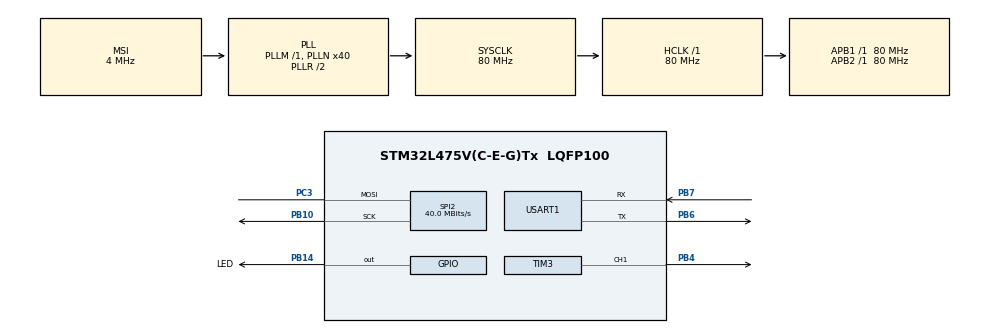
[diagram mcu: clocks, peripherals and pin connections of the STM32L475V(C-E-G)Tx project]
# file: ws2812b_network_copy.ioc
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Dma.Request0=TIM3_CH1/TRIG
Dma.TIM3_CH1/TRIG.0.Direction=DMA_MEMORY_TO_PERIPH
Dma.TIM3_CH1/TRIG.0.Instance=DMA1_Channel6
Dma.TIM3_CH1/TRIG.0.MemDataAlignment=DMA_MDATAALIGN_BYTE
Dma.TIM3_CH1/TRIG.0.MemInc=DMA_MINC_ENABLE
Dma.TIM3_CH1/TRIG.0.Mode=DMA_CIRCULAR
Dma.TIM3_CH1/TRIG.0.PeriphDataAlignment=DMA_PDATAALIGN_WORD
Dma.TIM3_CH1/TRIG.0.PeriphInc=DMA_PINC_DISABLE
Dma.TIM3_CH1/TRIG.0.Priority=DMA_PRIORITY_LOW
Mcu.Family=STM32L4
Mcu.Name=STM32L475V(C-E-G)Tx
Mcu.Package=LQFP100
NVIC.DMA1_Channel6_IRQn=true\:0\:0\:false\:false\:true\:false\:true
NVIC.PriorityGroup=NVIC_PRIORITYGROUP_4
PB10.Mode=Simplex_Bidirectional_Master
PB10.Signal=SPI2_SCK
PB14.GPIO_Label=LED
PB14.Signal=GPIO_Output
PB4\ (NJTRST).Signal=S_TIM3_CH1
PB6.Mode=Asynchronous
PB6.Signal=USART1_TX
PB7.Mode=Asynchronous
PB7.Signal=USART1_RX
PC3.Mode=Simplex_Bidirectional_Master
PC3.Signal=SPI2_MOSI
ProjectManager.HeapSize=0x200
ProjectManager.StackSize=0x400
ProjectManager.TargetToolchain=MDK-ARM V5.27
RCC.ADCFreq_Value=48000000
RCC.AHBFreq_Value=80000000
RCC.APB1Freq_Value=80000000
RCC.APB1TimFreq_Value=80000000
RCC.APB2Freq_Value=80000000
RCC.APB2TimFreq_Value=80000000
RCC.CortexFreq_Value=80000000
RCC.HCLKFreq_Value=80000000
RCC.HSE_VALUE=8000000
RCC.HSI_VALUE=16000000
RCC.LSE_VALUE=32768
RCC.MSI_VALUE=4000000
RCC.PLLN=40
RCC.PLLSAI1N=24
RCC.SYSCLKFreq_VALUE=80000000
RCC.SYSCLKSource=RCC_SYSCLKSOURCE_PLLCLK
RCC.USBFreq_Value=48000000
RCC.VCOOutputFreq_Value=160000000
SH.S_TIM3_CH1.0=TIM3_CH1,PWM Generation1 CH1
SPI2.CalculateBaudRate=40.0 MBits/s
SPI2.Direction=SPI_DIRECTION_1LINE
SPI2.Mode=SPI_MODE_MASTER
SPI2.VirtualType=VM_MASTER
TIM3.Channel-PWM\ Generation1\ CH1=TIM_CHANNEL_1
USART1.VirtualMode-Asynchronous=VM_ASYNC
board=B-L475E-IOT01A1

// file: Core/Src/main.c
/* USER CODE BEGIN Header */
/**
  ******************************************************************************
  * @file           : main.c
  * @brief          : Main program body
  ******************************************************************************
  * @attention
  *
  * <h2><center>&copy; Copyright (c) 2021 STMicroelectronics.
  * All rights reserved.</center></h2>
  *
  * This software component is licensed by ST under BSD 3-Clause license,
  * the "License"; You may not use this file except in compliance with the
  * License. You may obtain a copy of the License at:
  *                        opensource.org/licenses/BSD-3-Clause
  *
  ******************************************************************************
  */
/* USER CODE END Header */
#include "main.h"

/* USER CODE BEGIN Includes */
#include "wifi.h"
#include "shared.h"
#include "packet_parser.h"
/* USER CODE END Includes */

/* USER CODE BEGIN PD */
#define SSID     "GoodChocolate"
#define PASSWORD "lishangqiu"
#define UNIVERSE 1
#define CHANNEL_START 1

const uint8_t RemoteIP[] = {192,168,0, 17};
/* USER CODE END PD */

SPI_HandleTypeDef hspi2;

TIM_HandleTypeDef htim3;
DMA_HandleTypeDef hdma_tim3_ch1_trig;

UART_HandleTypeDef huart1;

/* USER CODE BEGIN PV */
static uint8_t LEDbuffer[LED_BUFFER_SIZE];

uint8_t RxData[500];
uint8_t  MAC_Addr[6];
uint8_t  IP_Addr[4];

uint8_t modulestr[28] = {0};

uint8_t success1[] = "Success!(Init)\n";
uint8_t success2[] = "Success!(MAC Addr)\n";
uint8_t success3[] = "Success!(AP)\n";
uint8_t success4[] = "Success!(IP Addr)\n";
uint8_t success5[] = "Success!(UDP Init)\n";
uint8_t success6[] = "Success!(UDP Sent)\n";

uint8_t failed1[] = "Success!(Init)\n";
uint8_t failed2[] = "Success!(MAC Addr)\n";
uint8_t failed3[] = "Success!(AP)\n";
uint8_t failed4[] = "Success!(IP Addr)\n";
uint8_t failed5[] = "Success!(UDP Init)\n";
uint8_t failed6[] = "Success!(UDP Sent)\n";
/* USER CODE END PV */

void SystemClock_Config(void);
static void MX_GPIO_Init(void);
static void MX_DMA_Init(void);
static void MX_SPI2_Init(void);
static void MX_TIM3_Init(void);
static void MX_USART1_UART_Init(void);
/* USER CODE BEGIN PFP */
void setLEDcolor(uint32_t LEDnumber, uint8_t RED, uint8_t GREEN, uint8_t BLUE);
void setWHOLEcolor(uint8_t RED, uint8_t GREEN, uint8_t BLUE);
/* USER CODE END PFP */

/* USER CODE BEGIN 0 */
void setLEDcolor(uint32_t LEDnumber, uint8_t RED, uint8_t GREEN, uint8_t BLUE) {
	uint8_t tempBuffer[24];
	uint32_t i;
	uint32_t LEDindex;
	LEDindex = LEDnumber % LED_NUMBER;

	for (i = 0; i < 8; i++) // GREEN data
		tempBuffer[i] = ((GREEN << i) & 0x80) ? WS2812_1 : WS2812_0;
	for (i = 0; i < 8; i++) // RED
		tempBuffer[8 + i] = ((RED << i) & 0x80) ? WS2812_1 : WS2812_0;
	for (i = 0; i < 8; i++) // BLUE
		tempBuffer[16 + i] = ((BLUE << i) & 0x80) ? WS2812_1 : WS2812_0;

	for (i = 0; i < 24; i++)
		LEDbuffer[RESET_SLOTS_BEGIN + LEDindex * 24 + i] = tempBuffer[i];
}

void setWHOLEcolor(uint8_t RED, uint8_t GREEN, uint8_t BLUE) {
	uint32_t index;

	for (index = 0; index < LED_NUMBER; index++)
		setLEDcolor(index, RED, GREEN, BLUE);
}
/* USER CODE END 0 */

int main(void)
{
  /* USER CODE BEGIN 1 */
  uint16_t Datalen;
	int32_t Socket = 0;
	e131_packet_t packet;
  /* USER CODE END 1 */

  /* MCU Configuration--------------------------------------------------------*/

  /* Reset of all peripherals, Initializes the Flash interface and the Systick. */
  HAL_Init();

  /* Configure the system clock */
  SystemClock_Config();

  /* Initialize all configured peripherals */
  MX_GPIO_Init();
  MX_DMA_Init();
  MX_SPI2_Init();
  MX_TIM3_Init();
  MX_USART1_UART_Init();
  /* USER CODE BEGIN 2 */
  setWHOLEcolor(0,155,0);

	if (WIFI_Init() == WIFI_STATUS_OK) {
		HAL_UART_Transmit(&huart1, success1, sizeof(success1), 1);
	}
	else HAL_UART_Transmit(&huart1, failed1, sizeof(failed1), 1);

	if (WIFI_Connect(SSID, PASSWORD, WIFI_ECN_WPA2_PSK) == WIFI_STATUS_OK) {
		HAL_UART_Transmit(&huart1, success3, sizeof(success3), 1);
	}
	else HAL_UART_Transmit(&huart1, failed3, sizeof(failed3), 1);

	if(WIFI_GetIP_Address(IP_Addr) == WIFI_STATUS_OK) {
		HAL_UART_Transmit(&huart1, success4, sizeof(success4), 1);
		sprintf((char*)modulestr,"%d.%d.%d.%d",  IP_Addr[0],
                IP_Addr[1],
                IP_Addr[2],
                IP_Addr[3]);
    HAL_UART_Transmit(&huart1, modulestr, sizeof(modulestr), 1);
	}
	else HAL_UART_Transmit(&huart1, failed4, sizeof(failed4), 1);

	if( WIFI_OpenClientConnection(0, WIFI_UDP_PROTOCOL, "UDP_CLIENT", (char *)RemoteIP, 5568, 0) == WIFI_STATUS_OK) {
		HAL_GPIO_TogglePin(LED_GPIO_Port, LED_Pin);
		HAL_UART_Transmit(&huart1, success5, sizeof(success5), 1);

		while (1) {
			HAL_Delay(50);
		  if(WIFI_ReceiveData(Socket, packet.raw, sizeof(packet.raw), &Datalen) == WIFI_STATUS_OK) {
        if (Datalen > 0) {
					if (parse_packet(&packet) == E131_STATUS_OK) {
						if (packet.E131_Frame_Universe == UNIVERSE) {
							//sprintf((char*)modulestr, "R:%d, G:%d, B:%d\n", packet.Data_Values[1], packet.Data_Values[2], packet.Data_Values[0]);
              //HAL_UART_Transmit(&huart1, modulestr, 21, 1);
							for (int i = 0; i < LED_NUMBER; i++) {
								int j = i * 3 + (CHANNEL_START - 1);
								setLEDcolor(i, packet.Data_Values[j+1]*0.75, packet.Data_Values[j+2]*0.75, packet.Data_Values[j]*0.75);
							}
						}
					}
			  }
		  }
			else {
				HAL_UART_Transmit(&huart1, failed5, sizeof(failed5), 1);
			}
	  }
	}
  /* USER CODE END 2 */

  /* Infinite loop */
  while (1)
  {

  }
}

void SystemClock_Config(void)
{
  RCC_OscInitTypeDef RCC_OscInitStruct = {0};
  RCC_ClkInitTypeDef RCC_ClkInitStruct = {0};
  RCC_PeriphCLKInitTypeDef PeriphClkInit = {0};

  /** Initializes the RCC Oscillators according to the specified parameters
  * in the RCC_OscInitTypeDef structure.
  */
  RCC_OscInitStruct.OscillatorType = RCC_OSCILLATORTYPE_MSI;
  RCC_OscInitStruct.MSIState = RCC_MSI_ON;
  RCC_OscInitStruct.MSICalibrationValue = 0;
  RCC_OscInitStruct.MSIClockRange = RCC_MSIRANGE_6;
  RCC_OscInitStruct.PLL.PLLState = RCC_PLL_ON;
  RCC_OscInitStruct.PLL.PLLSource = RCC_PLLSOURCE_MSI;
  RCC_OscInitStruct.PLL.PLLM = 1;
  RCC_OscInitStruct.PLL.PLLN = 40;
  RCC_OscInitStruct.PLL.PLLP = RCC_PLLP_DIV7;
  RCC_OscInitStruct.PLL.PLLQ = RCC_PLLQ_DIV2;
  RCC_OscInitStruct.PLL.PLLR = RCC_PLLR_DIV2;
  if (HAL_RCC_OscConfig(&RCC_OscInitStruct) != HAL_OK)
  {
    Error_Handler();
  }
  /** Initializes the CPU, AHB and APB buses clocks
  */
  RCC_ClkInitStruct.ClockType = RCC_CLOCKTYPE_HCLK|RCC_CLOCKTYPE_SYSCLK
                              |RCC_CLOCKTYPE_PCLK1|RCC_CLOCKTYPE_PCLK2;
  RCC_ClkInitStruct.SYSCLKSource = RCC_SYSCLKSOURCE_PLLCLK;
  RCC_ClkInitStruct.AHBCLKDivider = RCC_SYSCLK_DIV1;
  RCC_ClkInitStruct.APB1CLKDivider = RCC_HCLK_DIV1;
  RCC_ClkInitStruct.APB2CLKDivider = RCC_HCLK_DIV1;

  if (HAL_RCC_ClockConfig(&RCC_ClkInitStruct, FLASH_LATENCY_4) != HAL_OK)
  {
    Error_Handler();
  }
  PeriphClkInit.PeriphClockSelection = RCC_PERIPHCLK_USART1;
  PeriphClkInit.Usart1ClockSelection = RCC_USART1CLKSOURCE_PCLK2;
  if (HAL_RCCEx_PeriphCLKConfig(&PeriphClkInit) != HAL_OK)
  {
    Error_Handler();
  }
  /** Configure the main internal regulator output voltage
  */
  if (HAL_PWREx_ControlVoltageScaling(PWR_REGULATOR_VOLTAGE_SCALE1) != HAL_OK)
  {
    Error_Handler();
  }
}

static void MX_SPI2_Init(void)
{

  /* SPI2 parameter configuration*/
  hspi2.Instance = SPI2;
  hspi2.Init.Mode = SPI_MODE_MASTER;
  hspi2.Init.Direction = SPI_DIRECTION_1LINE;
  hspi2.Init.DataSize = SPI_DATASIZE_4BIT;
  hspi2.Init.CLKPolarity = SPI_POLARITY_LOW;
  hspi2.Init.CLKPhase = SPI_PHASE_1EDGE;
  hspi2.Init.NSS = SPI_NSS_SOFT;
  hspi2.Init.BaudRatePrescaler = SPI_BAUDRATEPRESCALER_2;
  hspi2.Init.FirstBit = SPI_FIRSTBIT_MSB;
  hspi2.Init.TIMode = SPI_TIMODE_DISABLE;
  hspi2.Init.CRCCalculation = SPI_CRCCALCULATION_DISABLE;
  hspi2.Init.CRCPolynomial = 7;
  hspi2.Init.CRCLength = SPI_CRC_LENGTH_DATASIZE;
  hspi2.Init.NSSPMode = SPI_NSS_PULSE_ENABLE;
  if (HAL_SPI_Init(&hspi2) != HAL_OK)
  {
    Error_Handler();
  }

}

static void MX_TIM3_Init(void)
{

  TIM_MasterConfigTypeDef sMasterConfig = {0};
  TIM_OC_InitTypeDef sConfigOC = {0};

  htim3.Instance = TIM3;
  htim3.Init.Prescaler = (uint32_t)((SystemCoreClock / TIMER_CLOCK_FREQ) - 1);
	htim3.Init.RepetitionCounter = LED_BUFFER_SIZE + 1;
  htim3.Init.CounterMode = TIM_COUNTERMODE_UP;
  htim3.Init.Period = TIMER_PERIOD - 1;
  htim3.Init.ClockDivision = TIM_CLOCKDIVISION_DIV1;
  htim3.Init.AutoReloadPreload = TIM_AUTORELOAD_PRELOAD_DISABLE;
  if (HAL_TIM_PWM_Init(&htim3) != HAL_OK)
  {
    Error_Handler();
  }
  sMasterConfig.MasterOutputTrigger = TIM_TRGO_RESET;
  sMasterConfig.MasterSlaveMode = TIM_MASTERSLAVEMODE_DISABLE;
  if (HAL_TIMEx_MasterConfigSynchronization(&htim3, &sMasterConfig) != HAL_OK)
  {
    Error_Handler();
  }
  sConfigOC.OCMode = TIM_OCMODE_PWM1;
  //sConfigOC.Pulse = 0;
  sConfigOC.OCPolarity = TIM_OCPOLARITY_HIGH;
  sConfigOC.OCFastMode = TIM_OCFAST_DISABLE;

	HAL_TIM_PWM_ConfigChannel(&htim3, &sConfigOC, TIM_CHANNEL_1);
	HAL_TIM_PWM_Start_DMA(&htim3, TIM_CHANNEL_1, (uint32_t *) LEDbuffer,
		LED_BUFFER_SIZE);

  /* USER CODE END TIM3_Init 2 */
  HAL_TIM_MspPostInit(&htim3);

}

static void MX_USART1_UART_Init(void)
{

  huart1.Instance = USART1;
  huart1.Init.BaudRate = 115200;
  huart1.Init.WordLength = UART_WORDLENGTH_8B;
  huart1.Init.StopBits = UART_STOPBITS_1;
  huart1.Init.Parity = UART_PARITY_NONE;
  huart1.Init.Mode = UART_MODE_TX_RX;
  huart1.Init.HwFlowCtl = UART_HWCONTROL_NONE;
  huart1.Init.OverSampling = UART_OVERSAMPLING_16;
  huart1.Init.OneBitSampling = UART_ONE_BIT_SAMPLE_DISABLE;
  huart1.AdvancedInit.AdvFeatureInit = UART_ADVFEATURE_NO_INIT;
  if (HAL_UART_Init(&huart1) != HAL_OK)
  {
    Error_Handler();
  }

}

static void MX_DMA_Init(void)
{

  /* DMA controller clock enable */
  __HAL_RCC_DMA1_CLK_ENABLE();

  /* DMA interrupt init */
  /* DMA1_Channel6_IRQn interrupt configuration */
  HAL_NVIC_SetPriority(DMA1_Channel6_IRQn, 0, 0);
  HAL_NVIC_EnableIRQ(DMA1_Channel6_IRQn);

}

static void MX_GPIO_Init(void)
{
  GPIO_InitTypeDef GPIO_InitStruct = {0};

  /* GPIO Ports Clock Enable */
  __HAL_RCC_GPIOC_CLK_ENABLE();
  __HAL_RCC_GPIOB_CLK_ENABLE();

  /*Configure GPIO pin Output Level */
  HAL_GPIO_WritePin(LED_GPIO_Port, LED_Pin, GPIO_PIN_RESET);

  /*Configure GPIO pin : LED_Pin */
  GPIO_InitStruct.Pin = LED_Pin;
  GPIO_InitStruct.Mode = GPIO_MODE_OUTPUT_PP;
  GPIO_InitStruct.Pull = GPIO_NOPULL;
  GPIO_InitStruct.Speed = GPIO_SPEED_FREQ_LOW;
  HAL_GPIO_Init(LED_GPIO_Port, &GPIO_InitStruct);

}

void Error_Handler(void)
{
  __disable_irq();
  while (1)
  {
  }
}

/************************ (C) COPYRIGHT STMicroelectronics *****END OF FILE****/
